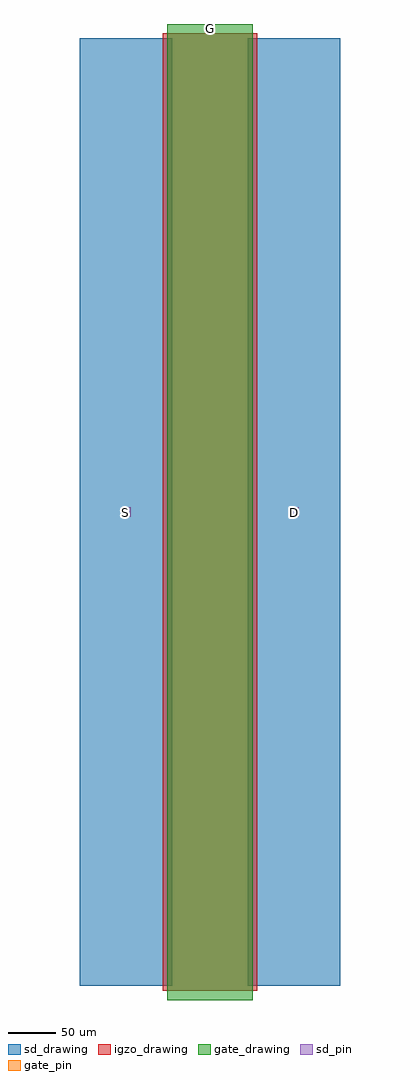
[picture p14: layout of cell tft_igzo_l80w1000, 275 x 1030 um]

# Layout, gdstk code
import gdstk
lib = gdstk.Library(unit=1e-6, precision=1e-09)
def R(c, l, rs):  # rectangles x0, y0, x1, y1
    for r in rs: c.add(gdstk.rectangle(r[:2], r[2:], *l))
gate_drawing = (2, 0)
gate_pin = (2, 10)
igzo_drawing = (4, 0)
sd_drawing = (6, 0)
sd_pin = (6, 10)

tft_igzo_l80w1000 = lib.new_cell('tft_igzo_l80w1000')
R(tft_igzo_l80w1000, gate_drawing, [(-45,-515,45,515)])
R(tft_igzo_l80w1000, gate_pin, [(-4.88,505.12,4.88,514.88)])
R(tft_igzo_l80w1000, igzo_drawing, [(-50,-505,50,505)])
R(tft_igzo_l80w1000, sd_drawing, [(-137.5,-500,-40,500), (40,-500,137.5,500)])
R(tft_igzo_l80w1000, sd_pin, [(-93.63,-4.88,-83.87,4.88), (83.87,-4.88,93.63,4.88)])
tft_igzo_l80w1000.add(gdstk.Label('S', (-88.75,0), layer=6, texttype=10))
tft_igzo_l80w1000.add(gdstk.Label('D', (88.75,0), layer=6, texttype=10))
tft_igzo_l80w1000.add(gdstk.Label('G', (0,510), layer=2, texttype=10))

lib.write_gds('tft_igzo_l80w1000.gds')
